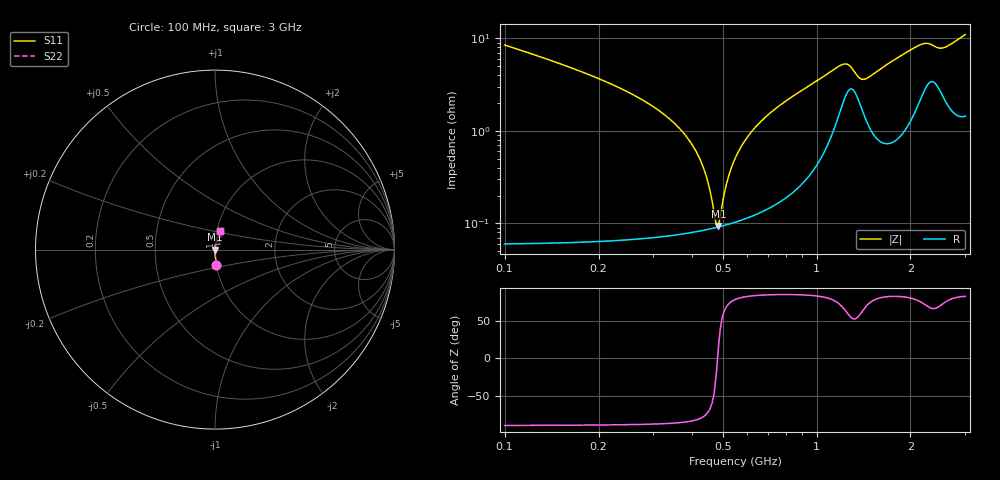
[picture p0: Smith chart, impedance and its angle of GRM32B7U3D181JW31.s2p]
!Murata Part Number: GRM32B7U3D181JW31
!These Parameters are Measured in Series Mode Connection
!Data Generated on Mar 30, 2021
!  o--ll--o
!Port1  Port2
!  o------o
!Operation Temp=25[degC], DC Bias Voltage=0[V]
!Freq. Start=100[MHz] Stop=3[GHz] 401[Steps]
# Hz S RI R 50
!Freq.(Hz) S11(Real) S11(Imag) S21(Real) S21(Imag) S12(Real) S12(Imag) S22(Real) S22(Imag)
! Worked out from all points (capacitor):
!   401 points, 100 MHz to 3 GHz, reference 50 ohm
!   read as one part in series: C = 180 pF near 114.5 MHz
!   lowest |Z| = 94 mohm at 484.2 MHz (marker M1)
!   series resonance near 481.6 MHz, so ESL is about 610 pH
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1e8  0.00771 -0.084  0.9923 0.084  0.9923 0.084  0.00771 -0.084
3.1025e8  0.000993 -0.0168  0.999 0.0168  0.999 0.0168  0.000993 -0.0168
3.755e8  0.00086 -0.00935  0.9991 0.00935  0.9991 0.00935  0.00086 -0.00935
4.2625e8  0.000853 -0.00457  0.9991 0.00457  0.9991 0.00457  0.000853 -0.00457
4.48e8  0.000869 -0.00271  0.9991 0.00271  0.9991 0.00271  0.000869 -0.00271
4.6975e8  0.000894 -0.00093  0.9991 0.00093  0.9991 0.00093  0.000894 -0.00093
4.77e8  0.000904 -0.000356  0.9991 0.000356  0.9991 0.000356  0.000904 -0.000356
4.8425e8  0.000915 0.000211  0.9991 -0.000211  0.9991 -0.000211  0.000915 0.000211
4.915e8  0.000928 0.00077  0.9991 -0.00077  0.9991 -0.00077  0.000928 0.00077
5.1325e8  0.000969 0.00241  0.999 -0.00241  0.999 -0.00241  0.000969 0.00241
5.35e8  0.00102 0.00399  0.999 -0.00399  0.999 -0.00399  0.00102 0.00399
5.8575e8  0.00117 0.0075  0.9988 -0.0075  0.9988 -0.0075  0.00117 0.0075
6.5825e8  0.00145 0.0122  0.9985 -0.0122  0.9985 -0.0122  0.00145 0.0122
7.525e8  0.00198 0.0181  0.998 -0.0181  0.998 -0.0181  0.00198 0.0181
1.0715e9  0.00793 0.0392  0.9921 -0.0392  0.9921 -0.0392  0.00793 0.0392
1.231e9  0.0242 0.0456  0.9758 -0.0456  0.9758 -0.0456  0.0242 0.0456
1.39775e9  0.0177 0.0308  0.9823 -0.0308  0.9823 -0.0308  0.0177 0.0308
1.55e9  0.0101 0.0415  0.9899 -0.0415  0.9899 -0.0415  0.0101 0.0415
2.03575e9  0.0196 0.0735  0.9804 -0.0735  0.9804 -0.0735  0.0196 0.0735
2.23875e9  0.0347 0.0781  0.9653 -0.0781  0.9653 -0.0781  0.0347 0.0781
2.5215e9  0.0292 0.0704  0.9708 -0.0704  0.9708 -0.0704  0.0292 0.0704
3e9  0.0255 0.1047  0.9745 -0.1047  0.9745 -0.1047  0.0255 0.1047
